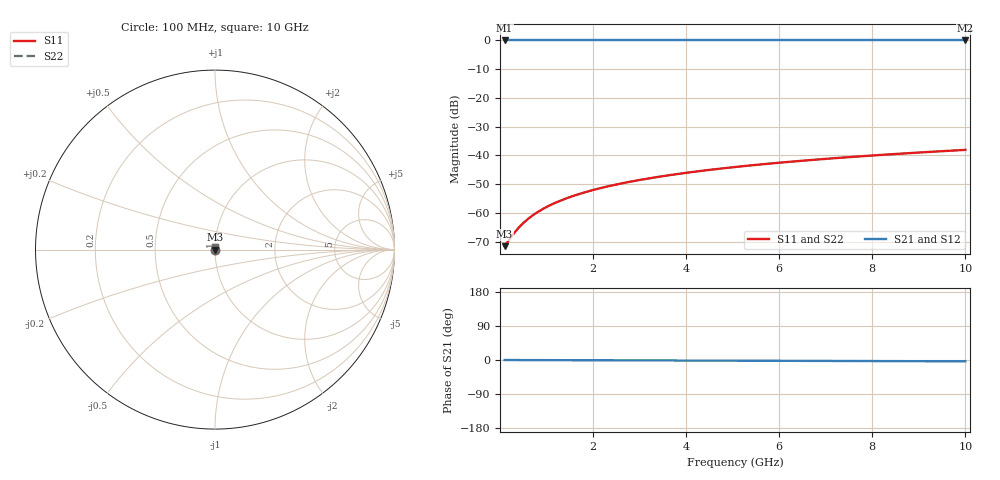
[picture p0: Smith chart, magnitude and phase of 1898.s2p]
# Hz S RI R 50.00
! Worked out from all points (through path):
!   100 points, 100 MHz to 10 GHz, reference 50 ohm
!   highest |S21| = 0.00 dB at 100 MHz (marker M1); lowest = 0.0 dB at 10 GHz (marker M2)
!   lowest |S11| = -71.6 dB at 100 MHz (marker M3), VSWR 1.00, Z = 50 + j0.0124 ohm
!   |S11| at or under -10 dB: start of sweep to end of sweep
!   |S22| runs from -71.6 to -38.1 dB; largest |S21 - S12| = 0
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1e8  0.000233 0.000124  0.9998 -0.000611  0.9998 -0.000611  0.000233 0.000124
3e8  0.000236 0.000373  0.9998 -0.00183  0.9998 -0.00183  0.000236 0.000373
4e8  0.000237 0.000497  0.9998 -0.00244  0.9998 -0.00244  0.000237 0.000497
5e8  0.000238 0.000621  0.9998 -0.00306  0.9998 -0.00306  0.000238 0.000621
6e8  0.00024 0.000746  0.9998 -0.00367  0.9998 -0.00367  0.00024 0.000746
7e8  0.000241 0.00087  0.9997 -0.00428  0.9997 -0.00428  0.000241 0.00087
8e8  0.000243 0.000994  0.9997 -0.00489  0.9997 -0.00489  0.000243 0.000994
9e8  0.000244 0.00112  0.9997 -0.0055  0.9997 -0.0055  0.000244 0.00112
1e9  0.000246 0.00124  0.9997 -0.00611  0.9997 -0.00611  0.000246 0.00124
1.2e9  0.00025 0.00149  0.9997 -0.00733  0.9997 -0.00733  0.00025 0.00149
1.5e9  0.000257 0.00186  0.9997 -0.00917  0.9997 -0.00917  0.000257 0.00186
1.8e9  0.000265 0.00224  0.9997 -0.011  0.9997 -0.011  0.000265 0.00224
2.1e9  0.000274 0.00261  0.9997 -0.0128  0.9997 -0.0128  0.000274 0.00261
2.5e9  0.000288 0.00311  0.9996 -0.0153  0.9996 -0.0153  0.000288 0.00311
2.9e9  0.000305 0.0036  0.9996 -0.0177  0.9996 -0.0177  0.000305 0.0036
3.4e9  0.00033 0.00422  0.9995 -0.0208  0.9995 -0.0208  0.00033 0.00422
4.2e9  0.000377 0.00521  0.9994 -0.0257  0.9994 -0.0257  0.000377 0.00521
5.1e9  0.000441 0.00633  0.9992 -0.0312  0.9992 -0.0312  0.000441 0.00633
5.9e9  0.000508 0.00733  0.999 -0.0361  0.999 -0.0361  0.000508 0.00733
6.7e9  0.000586 0.00832  0.9988 -0.0411  0.9988 -0.0411  0.000586 0.00832
8.4e9  0.000784 0.0104  0.9983 -0.0516  0.9983 -0.0516  0.000784 0.0104
1e10  0.00101 0.0124  0.9977 -0.0614  0.9977 -0.0614  0.00101 0.0124
